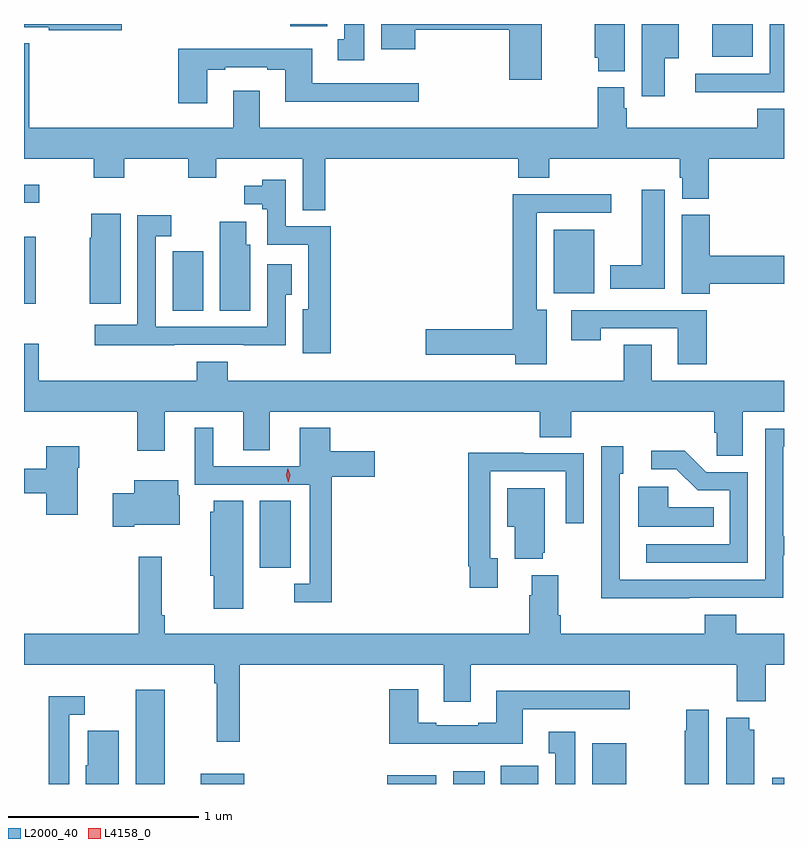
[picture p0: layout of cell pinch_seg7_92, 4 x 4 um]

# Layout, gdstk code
import gdstk
lib = gdstk.Library(unit=1e-6, precision=1e-09)
def R(c, l, rs):  # rectangles x0, y0, x1, y1
    for r in rs: c.add(gdstk.rectangle(r[:2], r[2:], *l))
def P(c, l, *ps):  # polygons
    for p in ps: c.add(gdstk.Polygon(p, *l))
L2000_40 = (2000, 40)
L4158_0 = (4158, 0)

pinch_seg7_92 = lib.new_cell('pinch_seg7_92')
R(pinch_seg7_92, L2000_40, [(887.528,1006.649,887.683,1007.146), (887.87,1006.649,888.1,1006.702), (888.853,1006.649,889.111,1006.696), (889.199,1006.649,889.366,1006.717), (889.451,1006.649,889.648,1006.744), (889.931,1006.649,890.11,1006.864), (890.879,1006.649,890.941,1006.681), (888.182,1007.787,888.346,1008.14), (887.723,1009.141,887.884,1009.452), (886.941,1009.176,887.002,1009.528), (889.73,1009.232,889.942,1009.567), (886.941,1009.707,887.02,1009.804), (890.564,1010.477,890.776,1010.649), (888.341,1010.636,888.538,1010.649)])
P(pinch_seg7_92, L2000_40, [(890.104,1010.649),(889.946,1010.649),(889.946,1010.472),(889.963,1010.472),(889.963,1010.401),(890.104,1010.401)],
  [(890.314,1010.468),(890.386,1010.468),(890.386,1010.649),(890.192,1010.649),(890.192,1010.268),(890.314,1010.268)],
  [(890.941,1010.649),(890.867,1010.649),(890.867,1010.388),(890.475,1010.388),(890.475,1010.291),(890.941,1010.291)],
  [(888.733,1010.649),(888.626,1010.649),(888.626,1010.57),(888.593,1010.57),(888.593,1010.457),(888.733,1010.457)],
  [(889.666,1010.649),(888.821,1010.649),(888.821,1010.516),(889,1010.516),(889,1010.62),(889.496,1010.62),(889.496,1010.355),(889.666,1010.355)],
  [(887.455,1010.649),(886.941,1010.649),(886.941,1010.633),(887.07,1010.633),(887.07,1010.615),(887.455,1010.615)],
  [(888.526,1009.94),(889.541,1009.94),(889.541,1009.841),(889.706,1009.841),(889.706,1009.94),(890.393,1009.94),(890.393,1009.839),(890.405,1009.839),(890.405,1009.729),(890.546,1009.729),(890.546,1009.94),(890.941,1009.94),(890.941,1010.203),(890.801,1010.203),(890.801,1010.104),(890.114,1010.104),(890.114,1010.205),(890.101,1010.205),(890.101,1010.316),(889.961,1010.316),(889.961,1010.104),(888.181,1010.104),(888.181,1010.299),(888.041,1010.299),(888.041,1010.104),(886.969,1010.104),(886.969,1010.548),(886.941,1010.548),(886.941,1009.94),(887.309,1009.94),(887.309,1009.841),(887.469,1009.841),(887.469,1009.94),(887.806,1009.94),(887.806,1009.841),(887.953,1009.841),(887.953,1009.94),(888.407,1009.94),(888.407,1009.669),(888.526,1009.669)],
  [(887.905,1010.409),(888.001,1010.409),(888.001,1010.421),(888.221,1010.421),(888.221,1010.409),(888.317,1010.409),(888.317,1010.24),(889.018,1010.24),(889.018,1010.337),(888.457,1010.337),(888.457,1010.518),(887.753,1010.518),(887.753,1010.232),(887.905,1010.232)],
  [(888.556,1009.584),(888.318,1009.584),(888.318,1009.828),(888.194,1009.828),(888.194,1009.798),(888.099,1009.798),(888.099,1009.701),(888.194,1009.701),(888.194,1009.674),(888.222,1009.674),(888.222,1009.488),(888.437,1009.488),(888.437,1009.147),(888.407,1009.147),(888.407,1008.915),(888.556,1008.915)],
  [(890.314,1009.777),(890.192,1009.777),(890.192,1009.378),(890.027,1009.378),(890.027,1009.256),(890.314,1009.256)],
  [(889.693,1009.144),(889.639,1009.144),(889.639,1009.656),(890.032,1009.656),(890.032,1009.754),(889.514,1009.754),(889.514,1009.043),(889.056,1009.043),(889.056,1008.908),(889.526,1008.908),(889.526,1008.858),(889.693,1008.858)],
  [(887.449,1009.651),(887.296,1009.651),(887.296,1009.524),(887.288,1009.524),(887.288,1009.176),(887.449,1009.176)],
  [(890.549,1009.283),(890.941,1009.283),(890.941,1009.43),(890.549,1009.43),(890.549,1009.644),(890.402,1009.644),(890.402,1009.228),(890.549,1009.228)],
  [(887.731,1008.96),(888.097,1008.96),(888.097,1008.959),(888.318,1008.959),(888.318,1009.225),(888.349,1009.225),(888.349,1009.384),(888.222,1009.384),(888.222,1009.056),(887.634,1009.056),(887.634,1009.533),(887.716,1009.533),(887.716,1009.642),(887.538,1009.642),(887.538,1009.066),(887.313,1009.066),(887.313,1008.959),(887.731,1008.959)],
  [(888.133,1009.488),(888.112,1009.488),(888.112,1009.609),(887.972,1009.609),(887.972,1009.141),(888.133,1009.141)],
  [(890.534,1009.143),(889.821,1009.143),(889.821,1008.984),(889.977,1008.984),(889.977,1009.047),(890.381,1009.047),(890.381,1008.858),(890.534,1008.858)],
  [(890.725,1008.608),(890.941,1008.608),(890.941,1008.772),(890.245,1008.772),(890.245,1008.962),(890.098,1008.962),(890.098,1008.772),(888.014,1008.772),(888.014,1008.871),(887.849,1008.871),(887.849,1008.772),(887.019,1008.772),(887.019,1008.967),(886.941,1008.967),(886.941,1008.608),(887.536,1008.608),(887.536,1008.402),(887.683,1008.402),(887.683,1008.608),(888.095,1008.608),(888.095,1008.406),(888.235,1008.406),(888.235,1008.608),(889.655,1008.608),(889.655,1008.475),(889.82,1008.475),(889.82,1008.608),(890.573,1008.608),(890.573,1008.499),(890.586,1008.499),(890.586,1008.376),(890.725,1008.376)],
  [(888.56,1008.266),(888.787,1008.266),(888.787,1008.4),(888.554,1008.4),(888.554,1008.523),(888.392,1008.523),(888.392,1008.321),(887.938,1008.321),(887.938,1008.523),(887.84,1008.523),(887.84,1008.225),(888.444,1008.225),(888.444,1007.703),(888.363,1007.703),(888.363,1007.606),(888.56,1007.606)],
  [(890.441,1007.628),(890.937,1007.628),(890.937,1007.853),(890.941,1007.853),(890.941,1007.954),(890.937,1007.954),(890.937,1008.423),(890.941,1008.423),(890.941,1008.519),(890.841,1008.519),(890.841,1007.724),(890.077,1007.724),(890.077,1007.975),(890.076,1007.975),(890.076,1008.282),(890.095,1008.282),(890.095,1008.427),(889.98,1008.427),(889.98,1007.933),(889.978,1007.933),(889.978,1007.627),(890.441,1007.627)],
  [(887.224,1008.314),(887.232,1008.314),(887.232,1008.427),(887.059,1008.427),(887.059,1008.307),(886.941,1008.307),(886.941,1008.178),(887.059,1008.178),(887.059,1008.066),(887.224,1008.066)],
  [(890.751,1008.291),(890.532,1008.291),(890.419,1008.404),(890.241,1008.404),(890.241,1008.306),(890.375,1008.306),(890.486,1008.195),(890.655,1008.195),(890.655,1007.91),(890.217,1007.91),(890.217,1007.814),(890.751,1007.814)],
  [(889.435,1007.838),(889.395,1007.838),(889.395,1008.294),(889.791,1008.294),(889.791,1008.021),(889.887,1008.021),(889.887,1008.39),(889.571,1008.39),(889.571,1008.392),(889.279,1008.392),(889.279,1007.794),(889.287,1007.794),(889.287,1007.682),(889.435,1007.682)],
  [(887.521,1008.014),(887.761,1008.014),(887.761,1008.168),(887.752,1008.168),(887.752,1008.247),(887.522,1008.247),(887.522,1008.18),(887.409,1008.18),(887.409,1008.002),(887.521,1008.002)],
  [(890.57,1008.106),(890.331,1008.106),(890.331,1008.214),(890.174,1008.214),(890.174,1008.002),(890.57,1008.002)],
  [(889.67,1007.865),(889.681,1007.865),(889.681,1008.205),(889.484,1008.205),(889.484,1008.002),(889.523,1008.002),(889.523,1007.834),(889.67,1007.834)],
  [(888.094,1008.14),(887.939,1008.14),(887.939,1008.081),(887.921,1008.081),(887.921,1007.745),(887.939,1007.745),(887.939,1007.571),(888.094,1007.571)],
  [(888.077,1007.276),(889.151,1007.276),(889.151,1007.082),(889.291,1007.082),(889.291,1007.276),(890.693,1007.276),(890.693,1007.084),(890.845,1007.084),(890.845,1007.276),(890.941,1007.276),(890.941,1007.44),(890.69,1007.44),(890.69,1007.539),(890.525,1007.539),(890.525,1007.44),(889.766,1007.44),(889.766,1007.536),(889.753,1007.536),(889.753,1007.749),(889.613,1007.749),(889.613,1007.642),(889.601,1007.642),(889.601,1007.44),(887.681,1007.44),(887.681,1007.536),(887.666,1007.536),(887.666,1007.845),(887.545,1007.845),(887.545,1007.44),(886.941,1007.44),(886.941,1007.276),(887.941,1007.276),(887.941,1007.18),(887.956,1007.18),(887.956,1006.872),(888.077,1006.872)],
  [(889.567,1007.043),(890.128,1007.043),(890.128,1007.14),(889.427,1007.14),(889.427,1006.972),(889.331,1006.972),(889.331,1006.959),(889.111,1006.959),(889.111,1006.972),(889.015,1006.972),(889.015,1007.149),(888.863,1007.149),(888.863,1006.862),(889.567,1006.862)],
  [(887.178,1007.013),(887.26,1007.013),(887.26,1007.11),(887.07,1007.11),(887.07,1006.649),(887.178,1006.649)],
  [(890.545,1007.041),(890.426,1007.041),(890.426,1006.928),(890.419,1006.928),(890.419,1006.649),(890.545,1006.649)],
  [(890.785,1006.935),(890.758,1006.935),(890.758,1006.999),(890.636,1006.999),(890.636,1006.649),(890.785,1006.649)],
  [(887.44,1006.93),(887.276,1006.93),(887.276,1006.749),(887.267,1006.749),(887.267,1006.649),(887.44,1006.649)],
  [(889.843,1006.924),(889.703,1006.924),(889.703,1006.811),(889.736,1006.811),(889.736,1006.649),(889.843,1006.649)])
P(pinch_seg7_92, L4158_0, [(888.333,1008.237),(888.333,1008.238),(888.321,1008.273),(888.329,1008.31),(888.329,1008.31),(888.329,1008.31),(888.341,1008.274),(888.333,1008.238)])

lib.write_gds('pinch_seg7_92.gds')
